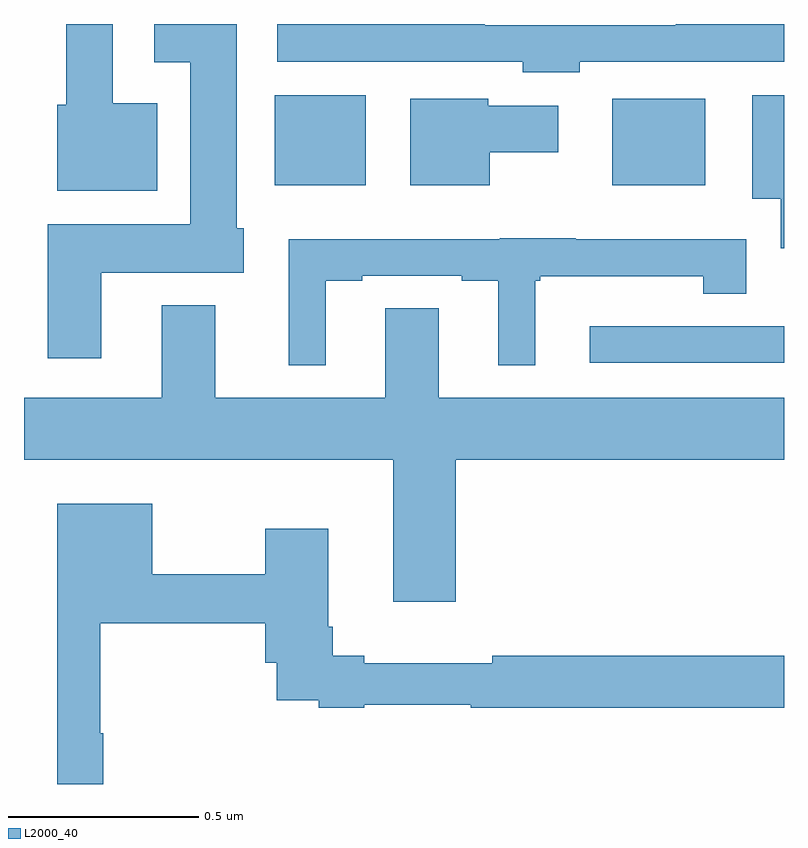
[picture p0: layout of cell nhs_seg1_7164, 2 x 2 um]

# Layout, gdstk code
import gdstk
lib = gdstk.Library(unit=1e-6, precision=1e-09)
def R(c, l, rs):  # rectangles x0, y0, x1, y1
    for r in rs: c.add(gdstk.rectangle(r[:2], r[2:], *l))
def P(c, l, *ps):  # polygons
    for p in ps: c.add(gdstk.Polygon(p, *l))
L2000_40 = (2000, 40)

nhs_seg1_7164 = lib.new_cell('nhs_seg1_7164')
R(nhs_seg1_7164, L2000_40, [(201.489,565.308,202,565.404), (200.66,565.775,200.899,566.011), (201.548,565.775,201.793,566.002)])
P(nhs_seg1_7164, L2000_40, [(200.35,565.99),(200.233,565.99),(200.233,566.199),(200.111,566.199),(200.111,565.986),(200.087,565.986),(200.087,565.76),(200.35,565.76)],
  [(200.203,565.544),(200.578,565.544),(200.578,565.662),(200.56,565.662),(200.56,566.199),(200.343,566.199),(200.343,566.099),(200.438,566.099),(200.438,565.672),(200.063,565.672),(200.063,565.32),(200.203,565.32)],
  [(201.462,566.1),(202,566.1),(202,566.198),(201.715,566.198),(201.715,566.196),(201.212,566.196),(201.212,566.198),(200.667,566.198),(200.667,566.1),(201.312,566.1),(201.312,566.072),(201.462,566.072)],
  [(202,566.011),(201.917,566.011),(201.917,565.739),(201.992,565.739),(201.992,565.609),(202,565.609)],
  [(201.226,565.862),(201.406,565.862),(201.406,565.984),(201.222,565.984),(201.222,566.002),(201.017,566.002),(201.017,565.775),(201.226,565.775)],
  [(200.794,565.524),(200.89,565.524),(200.89,565.536),(201.152,565.536),(201.152,565.524),(201.248,565.524),(201.248,565.301),(201.346,565.301),(201.346,565.524),(201.358,565.524),(201.358,565.535),(201.788,565.535),(201.788,565.489),(201.901,565.489),(201.901,565.633),(201.452,565.633),(201.452,565.635),(201.252,565.635),(201.252,565.633),(200.697,565.633),(200.697,565.301),(200.794,565.301)],
  [(201.136,565.052),(202,565.052),(202,565.216),(201.091,565.216),(201.091,565.451),(200.951,565.451),(200.951,565.216),(200.503,565.216),(200.503,565.459),(200.363,565.459),(200.363,565.216),(200,565.216),(200,565.052),(200.972,565.052),(200.972,564.678),(201.136,564.678)],
  [(200.209,564.333),(200.201,564.333),(200.201,564.622),(200.635,564.622),(200.635,564.518),(200.665,564.518),(200.665,564.42),(200.776,564.42),(200.776,564.4),(200.896,564.4),(200.896,564.408),(201.176,564.408),(201.176,564.4),(202,564.4),(202,564.536),(201.232,564.536),(201.232,564.517),(200.896,564.517),(200.896,564.536),(200.813,564.536),(200.813,564.613),(200.8,564.613),(200.8,564.871),(200.635,564.871),(200.635,564.751),(200.338,564.751),(200.338,564.937),(200.087,564.937),(200.087,564.199),(200.209,564.199)])

lib.write_gds('nhs_seg1_7164.gds')
